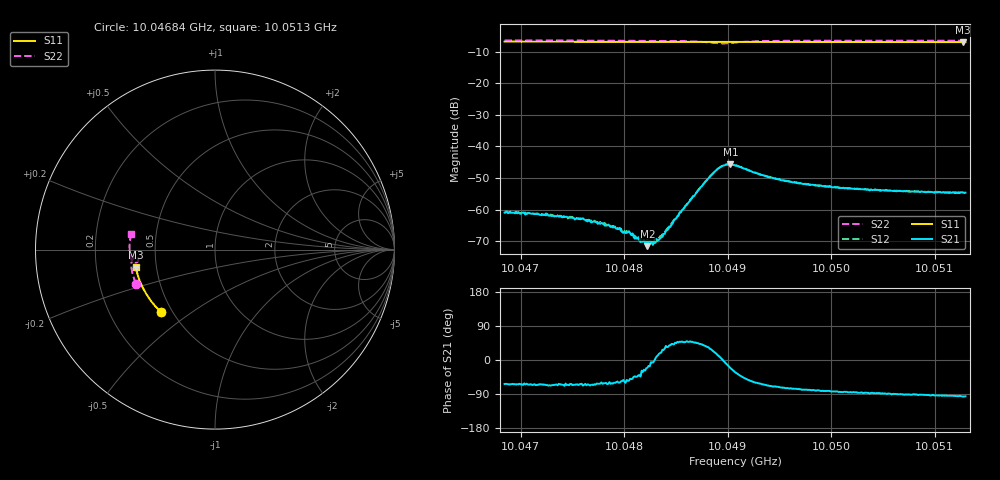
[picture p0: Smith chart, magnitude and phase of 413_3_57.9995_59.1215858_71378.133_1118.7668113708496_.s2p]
#  HZ  S  RI  R  50.00
! Rohde & Schwarz Vector Network Analyzer
! Rohde-Schwarz,ZNB20-2Port,1311601062101988,3.16
! Created: UTC 3/21/2024, 1:08:50 AM
! freq[Hz]  re:S11  im:S11  re:S21  im:S21  re:S12  im:S12  re:S22  im:S22
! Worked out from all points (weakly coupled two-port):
!   401 points, 10.04684 GHz to 10.0513 GHz, reference 50 ohm
!   highest |S21| = -45.70 dB at 10.04903 GHz (marker M1); lowest = -71.6 dB at 10.04822 GHz (marker M2)
!   lowest |S11| = -6.9 dB at 10.05127 GHz (marker M3), VSWR 2.65, Z = 19.1 - j4.8 ohm
!   |S11| at or under -10 dB: nowhere
!   |S22| runs from -7.3 to -6.4 dB; largest |S21 - S12| = 0.00035
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1.0046843e10  -0.2993 -0.3491  0.0004 -0.000797  0.000475 -0.000793  -0.4413 -0.1893
1.0047266e10  -0.3194 -0.3297  0.000307 -0.000739  0.000393 -0.000748  -0.451 -0.1624
1.0047589e10  -0.3339 -0.3139  0.000323 -0.000633  0.000355 -0.000621  -0.4575 -0.141
1.0047789e10  -0.3425 -0.304  0.000276 -0.000535  0.00031 -0.000525  -0.4607 -0.1273
1.0047934e10  -0.3484 -0.2965  0.000279 -0.000426  0.000276 -0.000416  -0.4628 -0.117
1.004799e10  -0.3507 -0.2937  0.000257 -0.000338  0.00029 -0.000382  -0.4636 -0.113
1.0048056e10  -0.3534 -0.29  0.000273 -0.00032  0.000259 -0.000316  -0.4643 -0.1081
1.0048134e10  -0.3565 -0.2862  0.000274 -0.000238  0.000273 -0.000209  -0.4652 -0.1024
1.0048224e10  -0.36 -0.2815  0.000246 -9.11e-05  0.000311 -0.000113  -0.4659 -0.0954
1.0048301e10  -0.3631 -0.2772  0.00034 2.76e-05  0.000292 5.4e-05  -0.4664 -0.0891
1.0048335e10  -0.3644 -0.2754  0.000319 9.14e-05  0.000342 8.2e-05  -0.4665 -0.0865
1.0048368e10  -0.3656 -0.2737  0.000328 0.000167  0.00035 0.000208  -0.4665 -0.0836
1.0048558e10  -0.3727 -0.2632  0.000644 0.000734  0.000617 0.000764  -0.4646 -0.0664
1.0048847e10  -0.3827 -0.2471  0.00322 0.00157  0.00313 0.0018  -0.4405 -0.043
1.0048936e10  -0.3855 -0.2422  0.00479 0.000349  0.00478 0.000643  -0.4281 -0.0512
1.0049025e10  -0.3883 -0.2375  0.00484 -0.00187  0.00496 -0.00157  -0.431 -0.0668
1.004907e10  -0.3898 -0.2349  0.00424 -0.00264  0.00445 -0.00242  -0.4377 -0.0708
1.0049393e10  -0.4001 -0.2163  0.00125 -0.00302  0.00146 -0.00299  -0.4685 -0.0493
1.0049816e10  -0.412 -0.1912  0.000442 -0.00243  0.00058 -0.0024  -0.4755 -0.0146
1.0050562e10  -0.4292 -0.1454  4.84e-05 -0.00199  0.000173 -0.00198  -0.475 0.0385
1.0051275e10  -0.4408 -0.1002  -0.000207 -0.00184  -8.19e-05 -0.00185  -0.4684 0.0861
1.0051297e10  -0.4412 -0.0988  -0.000189 -0.00184  -0.000112 -0.00182  -0.468 0.0876
